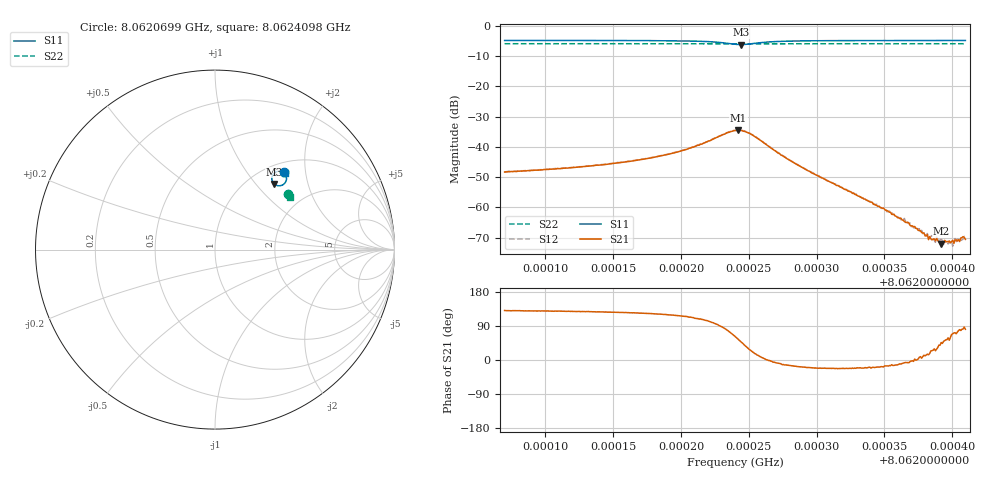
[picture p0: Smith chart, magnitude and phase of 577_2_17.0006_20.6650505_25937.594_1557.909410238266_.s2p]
#  HZ  S  RI  R  50.00
! Rohde & Schwarz Vector Network Analyzer
! Rohde-Schwarz,ZNB20-2Port,1311601062101988,3.16
! Created: UTC 3/20/2024, 11:17:58 PM
! freq[Hz]  re:S11  im:S11  re:S21  im:S21  re:S12  im:S12  re:S22  im:S22
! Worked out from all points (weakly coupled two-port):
!   401 points, 8.0620699 GHz to 8.0624098 GHz, reference 50 ohm
!   highest |S21| = -34.51 dB at 8.0622424 GHz (marker M1); lowest = -71.9 dB at 8.0623919 GHz (marker M2)
!   lowest |S11| = -6.1 dB at 8.0622441 GHz (marker M3), VSWR 2.94, Z = 65.1 + j62.8 ohm
!   |S11| at or under -10 dB: nowhere
!   |S22| runs from -5.9 to -5.9 dB; largest |S21 - S12| = 0.0012
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8.06206988e9  0.3818 0.4312  -0.00251 0.00292  -0.00231 0.00309  0.4049 0.3076
8.06212681e9  0.3873 0.4252  -0.00289 0.00371  -0.00269 0.00388  0.4072 0.3045
8.06215825e9  0.3911 0.4201  -0.00324 0.00459  -0.00302 0.0048  0.4084 0.3028
8.06218375e9  0.3951 0.4128  -0.00362 0.00597  -0.00326 0.00627  0.4094 0.3013
8.06220924e9  0.3984 0.3969  -0.00368 0.00921  -0.00315 0.00958  0.4102 0.2992
8.06222708e9  0.3894 0.3707  -0.000843 0.0146  0.000145 0.0147  0.4099 0.2973
8.06223983e9  0.3488 0.3562  0.00861 0.0165  0.00966 0.0161  0.4084 0.2967
8.06224238e9  0.3375 0.3605  0.011 0.0153  0.0119 0.0147  0.4079 0.2968
8.06224408e9  0.3307 0.3653  0.0124 0.014  0.0133 0.0134  0.4078 0.2971
8.06225258e9  0.3169 0.3999  0.0147 0.00588  0.015 0.00515  0.4079 0.2984
8.06227467e9  0.3479 0.4358  0.00703 -0.00154  0.00704 -0.00184  0.4106 0.2985
8.06229676e9  0.3652 0.4364  0.00345 -0.00129  0.00345 -0.00153  0.4121 0.2972
8.0623537e9  0.3809 0.4305  0.000805 -0.00021  0.000815 -0.000304  0.4145 0.2939
8.06236559e9  0.3827 0.4295  0.000561 -6.58e-05  0.000586 -0.000107  0.415 0.2935
8.06237239e9  0.3836 0.4289  0.000482 2.09e-05  0.000457 -2.74e-05  0.4153 0.2932
8.06238429e9  0.385 0.4277  0.000276 0.000123  0.000326 4.88e-05  0.4157 0.2925
8.06238769e9  0.3854 0.4275  0.000257 0.000117  0.000244 0.000103  0.4158 0.2922
8.06239193e9  0.3859 0.4272  0.000175 0.000182  0.000228 0.00019  0.416 0.292
8.06239873e9  0.3866 0.4267  0.00013 0.000226  0.000145 0.000214  0.4162 0.2916
8.06240298e9  0.3871 0.4263  0.000103 0.000272  8.33e-05 0.000251  0.4165 0.2914
8.06240808e9  0.3876 0.426  4.62e-05 0.000324  3.92e-05 0.000295  0.4166 0.2912
8.06240978e9  0.3877 0.4258  4.6e-05 0.000293  8.84e-05 0.000304  0.4165 0.291
